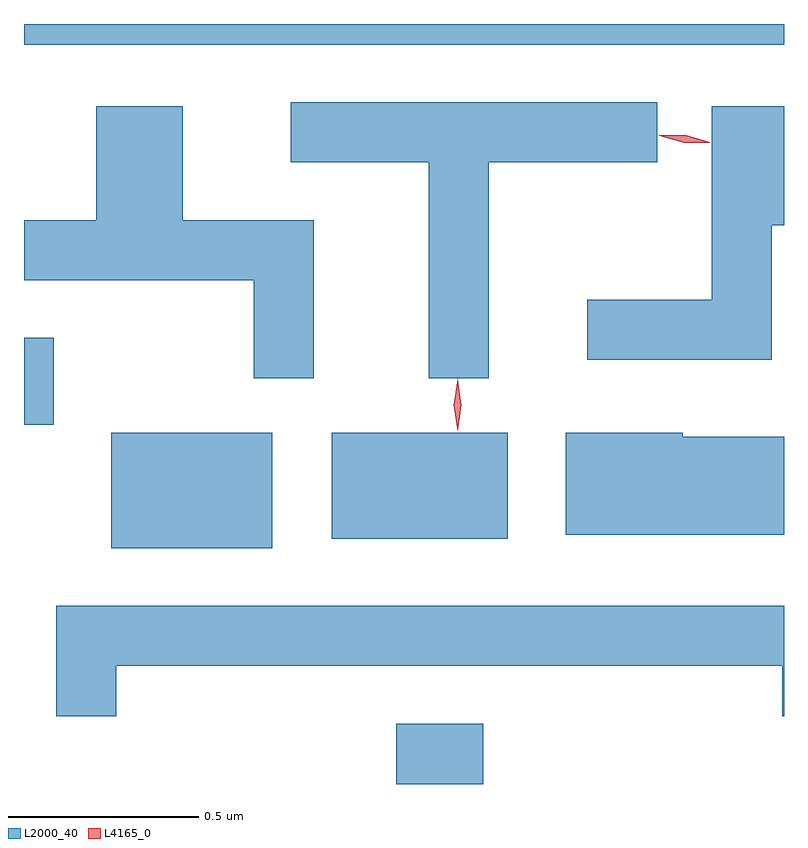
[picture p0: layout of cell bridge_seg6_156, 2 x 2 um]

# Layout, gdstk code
import gdstk
lib = gdstk.Library(unit=1e-6, precision=1e-09)
def R(c, l, rs):  # rectangles x0, y0, x1, y1
    for r in rs: c.add(gdstk.rectangle(r[:2], r[2:], *l))
def P(c, l, *ps):  # polygons
    for p in ps: c.add(gdstk.Polygon(p, *l))
L2000_40 = (2000, 40)
L4165_0 = (4165, 0)

bridge_seg6_156 = lib.new_cell('bridge_seg6_156')
R(bridge_seg6_156, L2000_40, [(1209.391,1594.71,1209.619,1594.869), (1208.641,1595.331,1209.064,1595.634), (1209.221,1595.356,1209.684,1595.634), (1208.411,1595.656,1208.489,1595.884), (1208.411,1596.656,1210.411,1596.71)])
P(bridge_seg6_156, L2000_40, [(1209.634,1596.346),(1210.078,1596.346),(1210.078,1596.504),(1209.113,1596.504),(1209.113,1596.346),(1209.476,1596.346),(1209.476,1595.778),(1209.634,1595.778)],
  [(1209.174,1596.194),(1208.829,1596.194),(1208.829,1596.494),(1208.601,1596.494),(1208.601,1596.194),(1208.411,1596.194),(1208.411,1596.036),(1209.016,1596.036),(1209.016,1595.778),(1209.174,1595.778)],
  [(1210.379,1596.181),(1210.411,1596.181),(1210.411,1596.494),(1210.221,1596.494),(1210.221,1595.984),(1209.893,1595.984),(1209.893,1595.826),(1210.379,1595.826)],
  [(1210.411,1595.624),(1210.145,1595.624),(1210.145,1595.634),(1209.836,1595.634),(1209.836,1595.366),(1210.411,1595.366)],
  [(1208.654,1595.021),(1210.406,1595.021),(1210.406,1594.888),(1210.411,1594.888),(1210.411,1595.179),(1208.496,1595.179),(1208.496,1594.888),(1208.654,1594.888)])
P(bridge_seg6_156, L4165_0, [(1209.552,1595.639),(1209.552,1595.639),(1209.542,1595.707),(1209.552,1595.775),(1209.552,1595.776),(1209.553,1595.775),(1209.562,1595.707),(1209.553,1595.639)],
  [(1210.148,1596.398),(1210.083,1596.416),(1210.083,1596.417),(1210.083,1596.417),(1210.15,1596.418),(1210.215,1596.399),(1210.215,1596.399),(1210.215,1596.398)])

lib.write_gds('bridge_seg6_156.gds')
